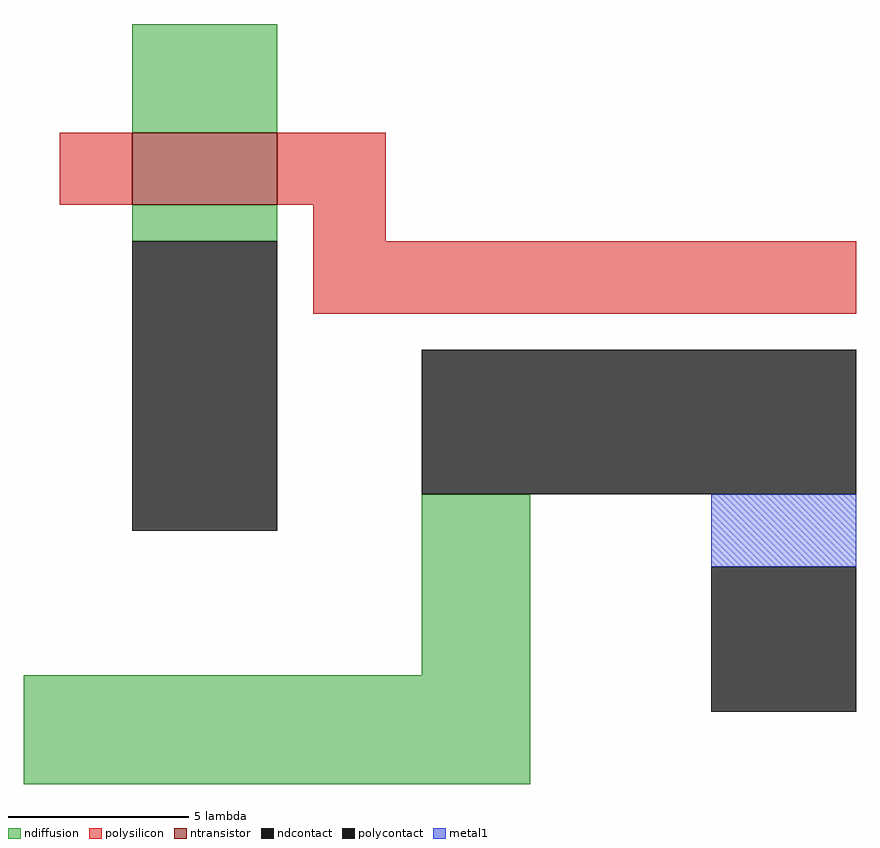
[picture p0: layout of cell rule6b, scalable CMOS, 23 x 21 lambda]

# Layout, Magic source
magic
tech scmos
<< polysilicon >>
rect 1 17 3 19
rect 7 17 10 19
rect 8 16 10 17
rect 8 14 23 16
<< ndiffusion >>
rect 3 19 7 22
rect 3 16 7 17
rect 11 4 14 9
rect 0 1 14 4
<< metal1 >>
rect 19 7 23 9
<< ntransistor >>
rect 3 17 7 19
<< polycontact >>
rect 19 3 23 7
<< ndcontact >>
rect 3 8 7 16
rect 11 9 23 13
<< end >>
